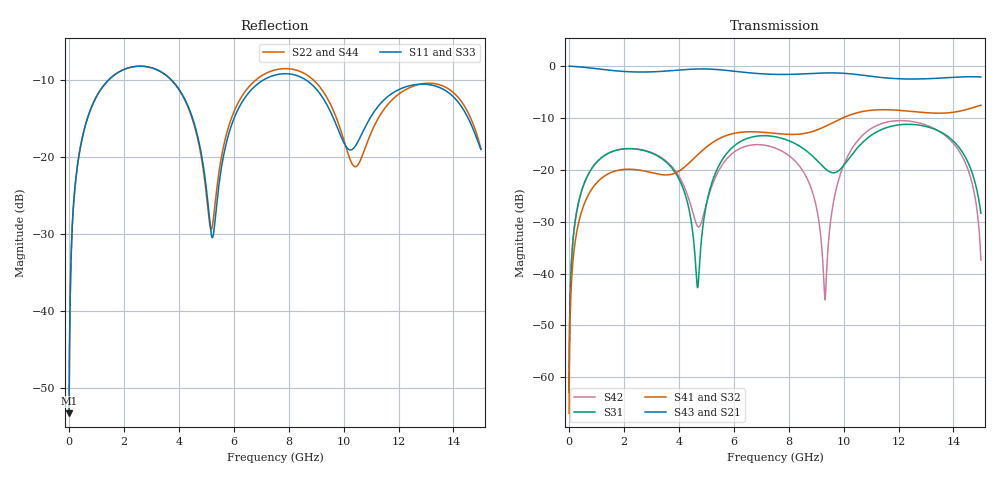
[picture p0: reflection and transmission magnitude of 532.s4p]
! Created with skrf 1.8.0 (http://scikit-rf.org).
# GHz S RI R 50.0
!freq ReS11 ImS11 ReS12 ImS12 ReS13 ImS13
! ReS14 ImS14
! ReS21 ImS21 ReS22 ImS22 ReS23 ImS23
! ReS24 ImS24
! ReS31 ImS31 ReS32 ImS32 ReS33 ImS33
! ReS34 ImS34
! ReS41 ImS41 ReS42 ImS42 ReS43 ImS43
! ReS44 ImS44
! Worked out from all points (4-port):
!   2499 points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, 5 MHz to 15 GHz, reference 50 ohm
!   strongest paths, dB at 5 MHz, 3.476 GHz, 7.19 GHz, 11.1 GHz, 15 GHz:
!     S43: 0.0, -1.0, -1.5, -2.0, -2.1
!     S21: 0.0, -1.0, -1.5, -2.0, -2.1
!     S41: -66.9, -21.0, -12.8, -8.5, -7.5
!     S32: -66.9, -21.1, -12.9, -8.5, -7.6
!     S31: -62.9, -18.2, -13.4, -13.0, -28.4
!     S42: -62.9, -18.1, -15.3, -11.8, -37.4
!   lowest |S11| = -53.3 dB at 5 MHz (marker M1), VSWR 1.00, Z = 50.2 + j0.131 ohm
!   |S11| at or under -10 dB: start of sweep to 1.425 GHz; 3.749 GHz to 7.054 GHz (3.305 GHz wide, 61.2 % of centre); 8.655 GHz to end of sweep
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0.005  0.00173 0.00131  0.9982 -0.00336  8.78e-05 0.000711  -8.52e-05 -0.000442
       0.9982 -0.00336  0.00173 0.00131  -8.52e-05 -0.000442  8.79e-05 0.000711
       8.78e-05 0.000711  -8.52e-05 -0.000442  0.00173 0.00131  0.9982 -0.00336
       -8.52e-05 -0.000442  8.79e-05 0.000711  0.9982 -0.00336  0.00173 0.00131
1.77574  0.3246 0.1442  0.4125 -0.7962  0.1496 0.043  -0.0972 0.0175
         0.4125 -0.7962  0.3245 0.1442  -0.097 0.0171  0.1504 0.0412
         0.1496 0.043  -0.097 0.0171  0.3248 0.1441  0.4125 -0.7962
         -0.0972 0.0175  0.1504 0.0412  0.4125 -0.7962  0.3243 0.1444
4.683201  0.067 -0.1203  -0.8643 -0.3647  0.00725 0.000955  -0.048 0.1308
          -0.8643 -0.3647  0.0679 -0.1144  -0.0518 0.1292  -0.0257 -0.0123
          0.00725 0.000955  -0.0518 0.1292  0.0663 -0.1209  -0.8642 -0.3649
          -0.048 0.1308  -0.0257 -0.0123  -0.8642 -0.3649  0.0689 -0.1141
8.003335  0.3488 -0.00927  -0.0252 0.8306  0.1417 -0.1281  0.2114 -0.0593
          -0.0252 0.8306  0.3746 -0.0398  0.2111 -0.0489  0.1335 -0.0325
          0.1417 -0.1281  0.2111 -0.0489  0.349 -0.0122  -0.0253 0.8312
          0.2114 -0.0593  0.1335 -0.0325  -0.0253 0.8312  0.3716 -0.038
9.322634  0.196 -0.1227  0.5761 0.636  -0.0613 -0.0831  0.1835 -0.1865
          0.5761 0.636  0.1936 -0.169  0.1937 -0.1756  -0.00453 -0.00324
          -0.0613 -0.0831  0.1937 -0.1756  0.1916 -0.1244  0.5768 0.6361
          0.1835 -0.1865  -0.00453 -0.00324  0.5768 0.6361  0.1936 -0.1658
10.72947  0.1404 0.0526  0.8133 -0.035  0.016 0.187  -0.0489 -0.3632
          0.8133 -0.035  0.1042 0.0285  -0.0307 -0.3646  0.0828 0.2036
          0.016 0.187  -0.0307 -0.3646  0.1397 0.0591  0.8132 -0.0357
          -0.0489 -0.3632  0.0828 0.2036  0.8132 -0.0357  0.1036 0.0266
15  0.1005 -0.0506  -0.6191 -0.4826  -0.0116 -0.0363  -0.227 0.3531
    -0.6191 -0.4826  0.083 -0.0784  -0.2588 0.3294  0.00329 -0.0131
    -0.0116 -0.0363  -0.2588 0.3294  0.0868 -0.0603  -0.6193 -0.4827
    -0.227 0.3531  0.00329 -0.0131  -0.6193 -0.4827  0.0944 -0.0675
